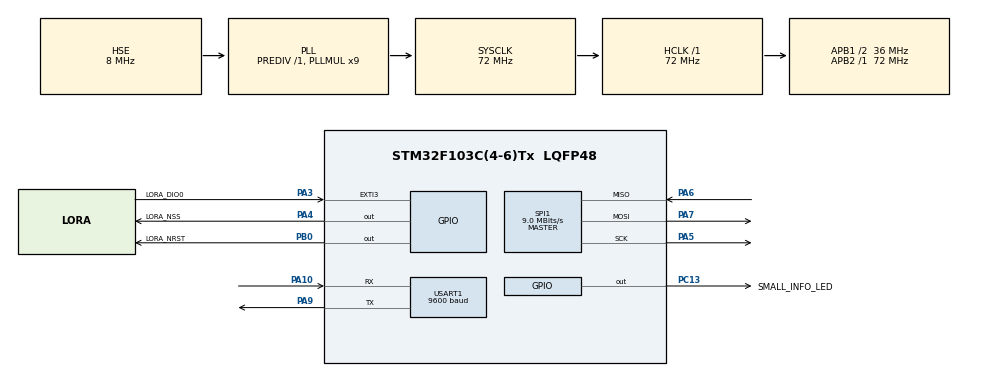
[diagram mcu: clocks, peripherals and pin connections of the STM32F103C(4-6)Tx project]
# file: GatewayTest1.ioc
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Mcu.Family=STM32F1
Mcu.Name=STM32F103C(4-6)Tx
Mcu.Package=LQFP48
NVIC.PriorityGroup=NVIC_PRIORITYGROUP_4
PA10.Mode=Asynchronous
PA10.Signal=USART1_RX
PA13.Mode=Serial_Wire
PA13.Signal=SYS_JTMS-SWDIO
PA14.Mode=Serial_Wire
PA14.Signal=SYS_JTCK-SWCLK
PA3.GPIO_Label=LORA_DIO0
PA3.GPIO_PuPd=GPIO_PULLDOWN
PA3.Signal=GPXTI3
PA4.GPIO_Label=LORA_NSS
PA4.GPIO_PuPd=GPIO_PULLUP
PA4.PinState=GPIO_PIN_SET
PA4.Signal=GPIO_Output
PA5.Mode=Full_Duplex_Master
PA5.Signal=SPI1_SCK
PA6.Mode=Full_Duplex_Master
PA6.Signal=SPI1_MISO
PA7.Mode=Full_Duplex_Master
PA7.Signal=SPI1_MOSI
PA9.Mode=Asynchronous
PA9.Signal=USART1_TX
PB0.GPIO_Label=LORA_NRST
PB0.GPIO_PuPd=GPIO_PULLUP
PB0.PinState=GPIO_PIN_SET
PB0.Signal=GPIO_Output
PC13-TAMPER-RTC.GPIO_Label=SMALL_INFO_LED
PC13-TAMPER-RTC.GPIO_PuPd=GPIO_PULLUP
PC13-TAMPER-RTC.PinState=GPIO_PIN_SET
PC13-TAMPER-RTC.Signal=GPIO_Output
PC14-OSC32_IN.Mode=LSE-External-Oscillator
PC14-OSC32_IN.Signal=RCC_OSC32_IN
PC15-OSC32_OUT.Mode=LSE-External-Oscillator
PC15-OSC32_OUT.Signal=RCC_OSC32_OUT
PD0-OSC_IN.Mode=HSE-External-Oscillator
PD0-OSC_IN.Signal=RCC_OSC_IN
PD1-OSC_OUT.Mode=HSE-External-Oscillator
PD1-OSC_OUT.Signal=RCC_OSC_OUT
ProjectManager.HeapSize=0x200
ProjectManager.StackSize=0x400
ProjectManager.TargetToolchain=STM32CubeIDE
RCC.AHBFreq_Value=72000000
RCC.APB1CLKDivider=RCC_HCLK_DIV2
RCC.APB1Freq_Value=36000000
RCC.APB1TimFreq_Value=72000000
RCC.APB2Freq_Value=72000000
RCC.APB2TimFreq_Value=72000000
RCC.HCLKFreq_Value=72000000
RCC.PLLMUL=RCC_PLL_MUL9
RCC.PLLSourceVirtual=RCC_PLLSOURCE_HSE
RCC.SYSCLKFreq_VALUE=72000000
RCC.SYSCLKSource=RCC_SYSCLKSOURCE_PLLCLK
RCC.USBFreq_Value=72000000
SPI1.BaudRatePrescaler=SPI_BAUDRATEPRESCALER_8
SPI1.CalculateBaudRate=9.0 MBits/s
SPI1.Direction=SPI_DIRECTION_2LINES
SPI1.Mode=SPI_MODE_MASTER
SPI1.VirtualType=VM_MASTER
USART1.BaudRate=9600
USART1.VirtualMode=VM_ASYNC
board=custom

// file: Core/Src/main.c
/* USER CODE BEGIN Header */
/**
 ******************************************************************************
 * @file           : main.c
 * @brief          : Main program body
 ******************************************************************************
 * @attention
 *
 * Copyright (c) 2025 STMicroelectronics.
 * All rights reserved.
 *
 * This software is licensed under terms that can be found in the LICENSE file
 * in the root directory of this software component.
 * If no LICENSE file comes with this software, it is provided AS-IS.
 *
 ******************************************************************************
 */
/* USER CODE END Header */
#include "main.h"
#include "spi.h"
#include "usart.h"
#include "gpio.h"

/* USER CODE BEGIN Includes */
#include "DebugLog.h"
//#include "callbacks.h"
//#include "LoraReceiver.h"
//#include "llcc68_hal.h"
#include "LoRa.h"
/* USER CODE END Includes */

/* USER CODE BEGIN PV */
LoRa myLoRa;
uint8_t read_data[128];
uint8_t send_data[128];
int RSSI;
/* USER CODE END PV */

void SystemClock_Config(void);

int main(void)
{

  /* MCU Configuration--------------------------------------------------------*/

  /* Reset of all peripherals, Initializes the Flash interface and the Systick. */
  HAL_Init();

  /* Configure the system clock */
  SystemClock_Config();

  /* Initialize all configured peripherals */
  MX_GPIO_Init();
  MX_SPI1_Init();
  MX_USART1_UART_Init();
  /* USER CODE BEGIN 2 */

//  extern UART_HandleTypeDef huart1;
	debug_init(&huart1);

	myLoRa = newLoRa();

	myLoRa.hSPIx = &hspi1;
	myLoRa.CS_port = LORA_NSS_GPIO_Port;
	myLoRa.CS_pin = LORA_NSS_Pin;
	myLoRa.reset_port = LORA_NRST_GPIO_Port;
	myLoRa.reset_pin = LORA_NRST_Pin;
	myLoRa.DIO0_port = LORA_DIO0_GPIO_Port;
	myLoRa.DIO0_pin = LORA_DIO0_Pin;

	myLoRa.frequency = 434;							  // default = 433 MHz
	myLoRa.spredingFactor = SF_7;							// default = SF_7
	myLoRa.bandWidth = BW_125KHz;				  // default = BW_125KHz
	myLoRa.crcRate = CR_4_5;						// default = CR_4_5
	myLoRa.power = POWER_20db;				// default = 20db
	myLoRa.overCurrentProtection = 120; 					// default = 100 mA
	myLoRa.preamble = 10;		  					// default = 8;

	LoRa_reset(&myLoRa);
	LoRa_init(&myLoRa);
	debug("Lora receiver started");
	// START CONTINUOUS RECEIVING -----------------------------------
//	LoRa_startReceiving(&myLoRa);
	// Инициализация LoRa-приёмника
//	LoRa_RX_Continuous_Init(&hspi1);
//	HAL_Delay(100);

//    SX1278_Init();
//
//    uint8_t payload[64];
//
//    while (1) {
//        SX1278_ReceiveHandler();
//        HAL_Delay(10); // опрос с небольшой задержкой
//    }
//	uint8_t packet_size = 0;

  /* USER CODE END 2 */

  /* Infinite loop */
	while (1) {

    /* USER CODE BEGIN 3 */
//		if ((packet_size = LoRa_receive(&myLoRa, read_data, 128)) > 0) {
//			debug("received");
//			HAL_GPIO_WritePin(SMALL_INFO_LED_GPIO_Port, SMALL_INFO_LED_Pin,
//					GPIO_PIN_RESET);
//			HAL_Delay(300);
//			HAL_GPIO_WritePin(SMALL_INFO_LED_GPIO_Port, SMALL_INFO_LED_Pin,
//					GPIO_PIN_SET);
//		};
//	}

		char *send_data;
		send_data = "Hello world!";
		if (LoRa_transmit(&myLoRa, (uint8_t*) send_data, 12, 100) == 1) {
			debug("Sent!");
		}
		HAL_Delay(1000);
	}
  /* USER CODE END 3 */
}

void SystemClock_Config(void)
{
  RCC_OscInitTypeDef RCC_OscInitStruct = {0};
  RCC_ClkInitTypeDef RCC_ClkInitStruct = {0};

  /** Initializes the RCC Oscillators according to the specified parameters
  * in the RCC_OscInitTypeDef structure.
  */
  RCC_OscInitStruct.OscillatorType = RCC_OSCILLATORTYPE_HSE;
  RCC_OscInitStruct.HSEState = RCC_HSE_ON;
  RCC_OscInitStruct.HSEPredivValue = RCC_HSE_PREDIV_DIV1;
  RCC_OscInitStruct.HSIState = RCC_HSI_ON;
  RCC_OscInitStruct.PLL.PLLState = RCC_PLL_ON;
  RCC_OscInitStruct.PLL.PLLSource = RCC_PLLSOURCE_HSE;
  RCC_OscInitStruct.PLL.PLLMUL = RCC_PLL_MUL9;
  if (HAL_RCC_OscConfig(&RCC_OscInitStruct) != HAL_OK)
  {
    Error_Handler();
  }

  /** Initializes the CPU, AHB and APB buses clocks
  */
  RCC_ClkInitStruct.ClockType = RCC_CLOCKTYPE_HCLK|RCC_CLOCKTYPE_SYSCLK
                              |RCC_CLOCKTYPE_PCLK1|RCC_CLOCKTYPE_PCLK2;
  RCC_ClkInitStruct.SYSCLKSource = RCC_SYSCLKSOURCE_PLLCLK;
  RCC_ClkInitStruct.AHBCLKDivider = RCC_SYSCLK_DIV1;
  RCC_ClkInitStruct.APB1CLKDivider = RCC_HCLK_DIV2;
  RCC_ClkInitStruct.APB2CLKDivider = RCC_HCLK_DIV1;

  if (HAL_RCC_ClockConfig(&RCC_ClkInitStruct, FLASH_LATENCY_2) != HAL_OK)
  {
    Error_Handler();
  }
}

void Error_Handler(void)
{
	__disable_irq();
	while (1) {
	}
}
